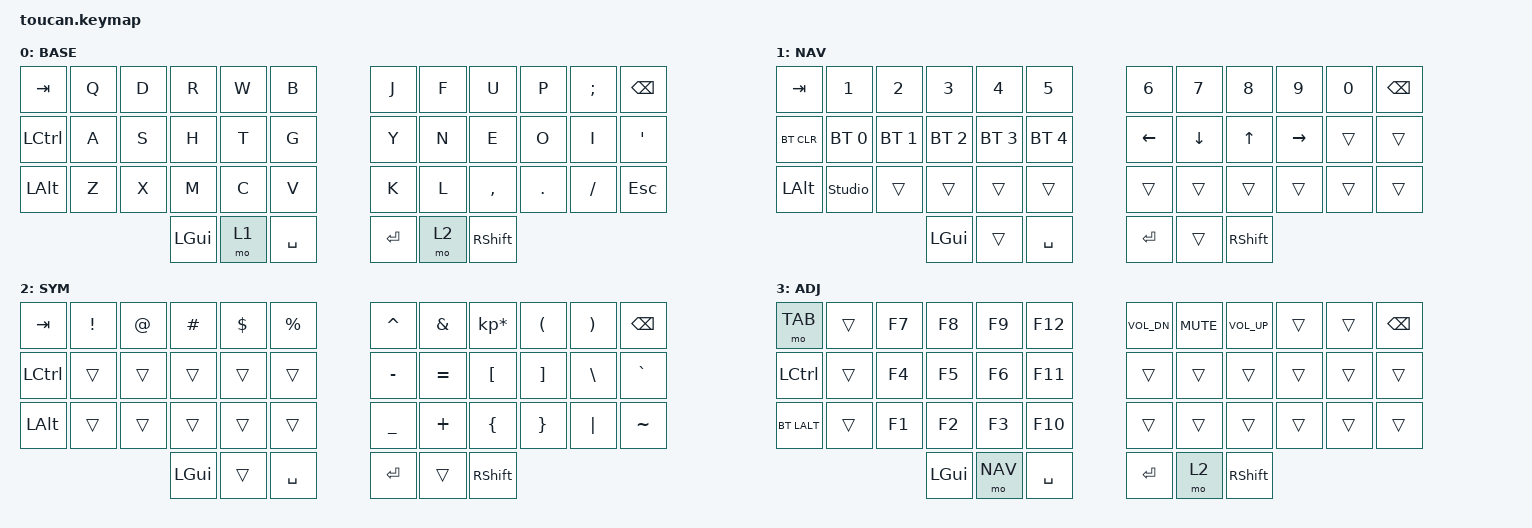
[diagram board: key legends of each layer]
//My Workman Keyboard Layout
#include <behaviors.dtsi>
#include <dt-bindings/zmk/keys.h>
#include <dt-bindings/zmk/bt.h>
#include <dt-bindings/zmk/outputs.h>

#define BASE 0
#define NAV  1
#define SYM  2
#define ADJ  3

/ {
    conditional_layers {
        compatible = "zmk,conditional-layers";
        tri_layer {
            if-layers = <1 2>;
            then-layer = <3>;
        };
    };

    keymap {
        compatible = "zmk,keymap";

        base {
            display-name = "BASE";
            bindings = <
                &kp TAB   &kp Q &kp D &kp R &kp W &kp B     &kp J &kp F  &kp U     &kp P   &kp SEMI  &kp BSPC
                &kp LCTRL &kp A &kp S &kp H &kp T &kp G     &kp Y &kp N  &kp E     &kp O   &kp I     &kp SQT
                &kp LALT  &kp Z &kp X &kp M &kp C &kp V     &kp K &kp L  &kp COMMA &kp DOT &kp FSLH  &kp ESC
                               &kp LGUI &mo 1 &kp SPACE     &kp RET &mo 2 &kp RSHFT
            >;
        };

        nav {
            display-name = "NAV";
            bindings = <
                &kp TAB     &kp N1          &kp N2       &kp N3       &kp N4       &kp N5           &kp N6   &kp N7   &kp N8 &kp N9    &kp N0 &kp BSPC
                &bt BT_CLR  &bt BT_SEL 0    &bt BT_SEL 1 &bt BT_SEL 2 &bt BT_SEL 3 &bt BT_SEL 4     &kp LEFT &kp DOWN &kp UP &kp RIGHT &trans &trans
                &kp LALT    &studio_unlock  &trans       &trans       &trans       &trans           &trans   &trans   &trans &trans    &trans &trans
                                                         &kp LGUI     &trans       &kp SPACE        &kp RET  &trans   &kp RSHFT
            >;
        };

        sym {
            display-name = "SYM";
            bindings = <
                &kp TAB   &kp EXCL &kp AT &kp HASH &kp DLLR &kp PRCNT     &kp CARET &kp AMPS  &kp KP_MULTIPLY &kp LPAR &kp RPAR &kp BSPC
                &kp LCTRL &trans   &trans &trans   &trans   &trans        &kp MINUS &kp EQUAL &kp LBKT        &kp RBKT &kp BSLH &kp GRAVE
                &kp LALT  &trans   &trans &trans   &trans   &trans        &kp UNDER &kp PLUS  &kp LBRC        &kp RBRC &kp PIPE &kp TILDE
                                          &kp LGUI &trans   &kp SPACE     &kp RET   &trans    &kp RSHFT
            >;
        };

        adj {
            display-name = "ADJ";
            bindings = <
                &mo TAB   &trans &kp F7 &kp F8 &kp F9 &kp F12     &kp C_VOL_DN &kp C_MUTE  &kp C_VOL_UP &trans &trans &kp BSPC
                &kp LCTRL &trans &kp F4 &kp F5 &kp F6 &kp F11     &trans       &trans      &trans       &trans &trans &trans
                &bt LALT  &trans &kp F1 &kp F2 &kp F3 &kp F10     &trans       &trans      &trans       &trans &trans &trans
                                   &kp LGUI &mo NAV &kp SPACE     &kp RET &mo 2 &kp RSHFT
            >;
        };
        extra_1 {
                status = "reserved";
        };

        extra_2 {
                status = "reserved";
        };

        extra_3 {
                status = "reserved";
        };
    };
};
